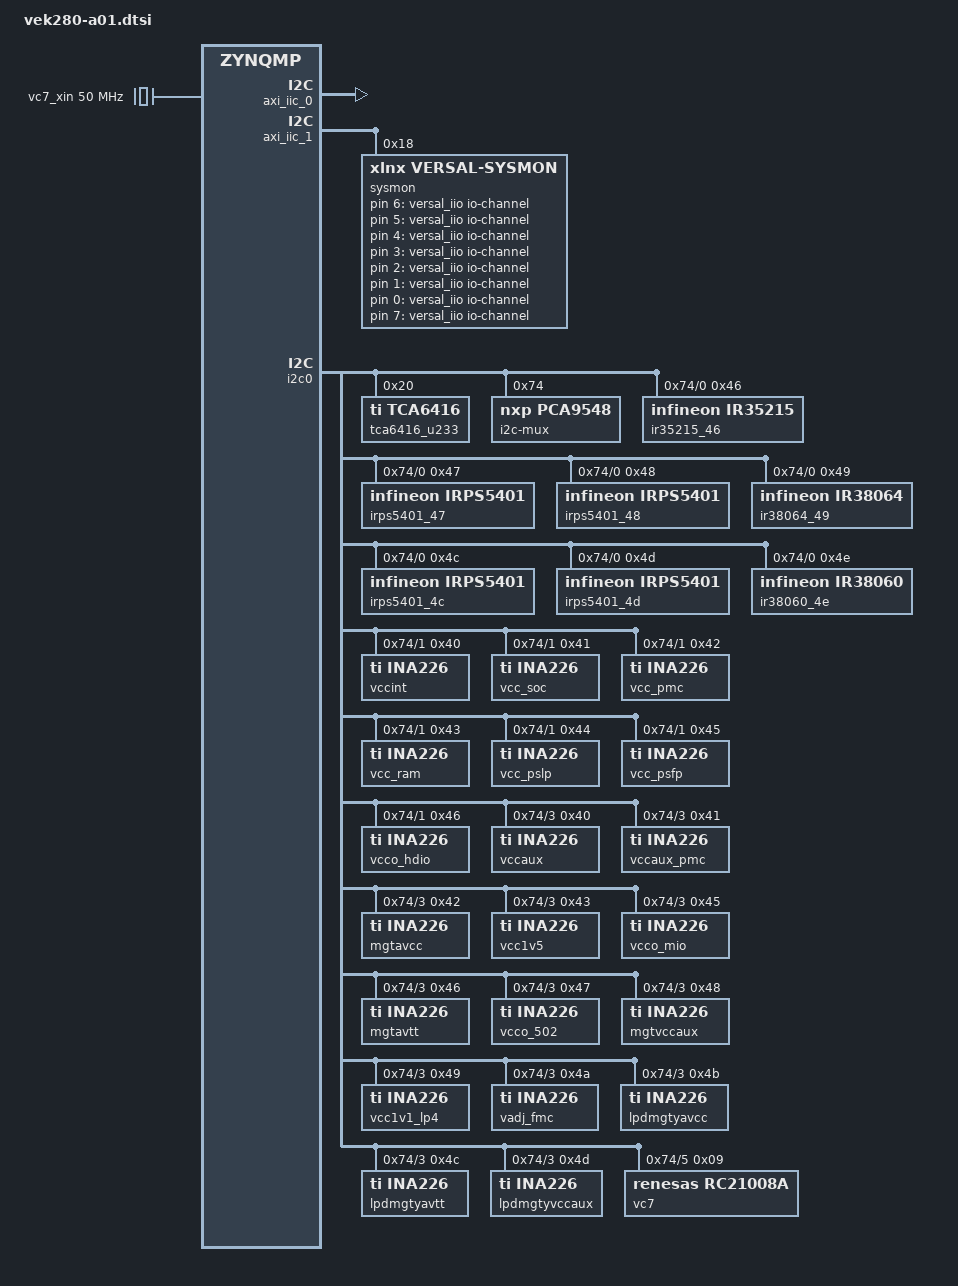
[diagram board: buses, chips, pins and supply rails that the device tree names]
// SPDX-License-Identifier: GPL-2.0
/*
 * dts file for Xilinx ZynqMP VEK280 revA
 *
 * (C) Copyright 2022, Advanced Micro Devices, Inc
 *
 */

/dts-v1/;
/plugin/;
/{
    compatible = "xlnx,zynqmp-sc-vek280-revA", "xlnx,zynqmp-vek280-revA",
		 "xlnx,zynqmp-sc-vek280-revB", "xlnx,zynqmp-vek280-revB",
                "xlnx,zynqmp-vek280", "xlnx,zynqmp";

    fragment@0 {
        target = <&fpga_full>;
        overlay0: __overlay__ {
            #address-cells = <2>;
            #size-cells = <2>;
            firmware-name = "vek280-a01.bit.bin";
            pid = <0x0>;
            resets = <&zynqmp_reset 116>;
            uid = <0xd91b5b60>;
        };
    };

    fragment@1 {
        target = <&amba>;
        overlay1: __overlay__ {
            afi0: afi0 {
                compatible = "xlnx,afi-fpga";
                config-afi = < 0 0>, <1 0>, <2 0>, <3 0>, <4 0>, <5 0>, <6 0>, <7 0>, <8 0>, <9 0>, <10 0>, <11 0>, <12 0>, <13 0>, <14 0xa00>, <15 0x000>;
            };
            clocking0: clocking0 {
            #clock-cells = <0>;
            assigned-clock-rates = <96968727>;
            assigned-clocks = <&zynqmp_clk 71>;
            clock-output-names = "fabric_clk";
            clocks = <&zynqmp_clk 71>;
            compatible = "xlnx,fclk";
            };
            clocking1: clocking1 {
            #clock-cells = <0>;
            assigned-clock-rates = <266664000>;
            assigned-clocks = <&zynqmp_clk 72>;
            clock-output-names = "fabric_clk";
            clocks = <&zynqmp_clk 72>;
            compatible = "xlnx,fclk";
            };
        };
    };

    fragment@2 {
        target = <&amba>;
        overlay2: __overlay__ {
            #address-cells = <2>;
            #size-cells = <2>;
            axi_gpio_0: gpio@80020000 {
                #gpio-cells = <2>;
	        #interrupt-cells = <2>;
                clock-names = "s_axi_aclk";
                clocks = <&zynqmp_clk 71>;
                compatible = "xlnx,axi-gpio-2.0", "xlnx,xps-gpio-1.00.a";
                gpio-controller ;
                interrupt-controller ;
                interrupt-names = "ip2intc_irpt";
                interrupt-parent = <&gic>;
	        interrupts = <0 94 4>;
                reg = <0x0 0x80020000 0x0 0x10000>;
                xlnx,all-inputs = <0x0>;
                xlnx,all-inputs-2 = <0x0>;
                xlnx,all-outputs = <0x0>;
                xlnx,all-outputs-2 = <0x0>;
                xlnx,dout-default = <0x00000000>;
	        xlnx,dout-default-2 = <0x00000000>;
                xlnx,gpio-width = <0x12>;
                xlnx,gpio2-width = <0x20>;
	        xlnx,interrupt-present = <0x1>;
                xlnx,is-dual = <0x0>;
                xlnx,tri-default = <0xFFFFFFFF>;
                xlnx,tri-default-2 = <0xFFFFFFFF>;
	        gpio-line-names = "SYSCTLR_GPIO0", "SYSCTLR_GPIO1", "SYSCTLR_GPIO2",
                "SYSCTLR_GPIO3", "SYSCTLR_GPIO4", "SYSCTLR_GPIO5",
                "SYSCTLR_GPIO6", "SYSCTLR_GPIO7", "",
                "", "", "",
                "", "", "",
                "", "SYSCTLR_IIC_MUX1_RESET_B",
                "SYSCTLR_IIC_MUX0_RESET_B";
            };
            axi_gpio_1: gpio@80030000 {
                #gpio-cells = <2>;
                #interrupt-cells = <2>;
                clock-names = "s_axi_aclk";
                clocks = <&zynqmp_clk 71>;
                compatible = "xlnx,axi-gpio-2.0", "xlnx,xps-gpio-1.00.a";
                gpio-controller ;
                interrupt-controller ;
                interrupt-names = "ip2intc_irpt";
                interrupt-parent = <&gic>;
                interrupts = <0 96 4>;
                reg = <0x0 0x80030000 0x0 0x10000>;
                xlnx,all-inputs = <0x0>;
		xlnx,all-inputs-2 = <0x0>;
		xlnx,all-outputs = <0x0>;
                xlnx,all-outputs-2 = <0x0>;
                xlnx,dout-default = <0x00000000>;
                xlnx,dout-default-2 = <0x00000000>;
                xlnx,gpio-width = <0x3>;
                xlnx,gpio2-width = <0x20>;
                xlnx,interrupt-present = <0x1>;
                xlnx,is-dual = <0x0>;
                xlnx,tri-default = <0xFFFFFFFF>;
                xlnx,tri-default-2 = <0xFFFFFFFF>;
		gpio-line-names = "PMBUS2_INA226_ALERT", "PMBUS1_INA226_ALERT",
                "PMBUS_ALERT";
            };
            axi_gpio_2: gpio@80040000 {
                #gpio-cells = <2>;
                #interrupt-cells = <2>;
                clock-names = "s_axi_aclk";
                clocks = <&zynqmp_clk 71>;
                compatible = "xlnx,axi-gpio-2.0", "xlnx,xps-gpio-1.00.a";
                gpio-controller ;
                interrupt-controller ;
                interrupt-names = "ip2intc_irpt";
                interrupt-parent = <&gic>;
                interrupts = <0 95 4>;
                reg = <0x0 0x80040000 0x0 0x10000>;
                xlnx,all-inputs = <0x0>;
                xlnx,all-inputs-2 = <0x0>;
                xlnx,all-outputs = <0x0>;
                xlnx,all-outputs-2 = <0x0>;
                xlnx,dout-default = <0x00000000>;
                xlnx,dout-default-2 = <0x00000000>;
                xlnx,gpio-width = <0xd>;
                xlnx,gpio2-width = <0x20>;
                xlnx,interrupt-present = <0x1>;
                xlnx,is-dual = <0x0>;
                xlnx,tri-default = <0xFFFFFFFF>;
                xlnx,tri-default-2 = <0xFFFFFFFF>;
	        gpio-line-names = "SYSCTLR_JTAG_S1", "SYSCTLR_JTAG_S0",
                "SYSCTLR_VERSAL_MODE3", "SYSCTLR_VERSAL_MODE2",
                "SYSCTLR_VERSAL_MODE1", "SYSCTLR_VERSAL_MODE0",
                "SYSCTLR_POR_B_LS", "SYSCTLR_VERSAL_MODE3_READBACK",
                "SYSCTLR_VERSAL_MODE2_READBACK", "SYSCTLR_VERSAL_MODE1_READBACK",
                "SYSCTLR_VERSAL_MODE0_READBACK", "SYSCTLR_VERSAL_POR_B_READBACK",
                "VERSAL_ERROR_OUT_LS";
           };
            axi_iic_0: i2c@80050000 {
                #address-cells = <1>;
                #size-cells = <0>;
                clock-names = "s_axi_aclk";
                clocks = <&zynqmp_clk 71>;
                compatible = "xlnx,axi-iic-2.1", "xlnx,xps-iic-2.00.a";
                interrupt-names = "iic2intc_irpt";
                interrupt-parent = <&gic>;
		interrupts = <0 91 4>;
                reg = <0x0 0x80050000 0x0 0x10000>;
            };
            axi_iic_1: i2c@80060000 {
		#address-cells = <1>;
		#size-cells = <0>;
		clock-names = "s_axi_aclk";
		clocks = <&zynqmp_clk 71>;
		compatible = "xlnx,axi-iic-2.1", "xlnx,xps-iic-2.00.a";
		interrupt-names = "iic2intc_irpt";
		interrupt-parent = <&gic>;
		interrupts = <0 92 4>;
		reg = <0x0 0x80060000 0x0 0x10000>;

		sysmon: i2c@18 {
			#address-cells = <1>;
			#size-cells = <0>;
			compatible = "xlnx,versal-sysmon";
			reg = <0x18>;
			xlnx,numchannels = [07];
			status = "okay";
			#io-channel-cells = <1>;
			supply@0 {
				reg = <0>;
				xlnx,name = "vccaux";
			};
			supply@1 {
				reg = <1>;
				xlnx,name = "vccaux_pmc";
			};
			supply@2 {
				reg = <2>;
				xlnx,name = "vcc_pmc";
			};
			supply@3 {
				reg = <3>;
				xlnx,name = "vcc_psfp";
			};
			supply@4 {
				reg = <4>;
				xlnx,name = "vcc_pslp";
			};
			supply@5 {
				reg = <5>;
				xlnx,name = "vcc_soc";
			};
			supply@6 {
				reg = <6>;
				xlnx,name = "vp_vn";
			};
		};
            };
	    debug_bridge_0: debug_bridge@80010000 {
		clock-names = "s_axi_aclk";
		clocks = <&zynqmp_clk 71>;
		compatible = "xlnx,debug-bridge-3.0", "generic-uio";
		reg = <0x0 0x80010000 0x0 0x10000>;
		xlnx,bscan-mux = <0x1>;
		xlnx,build-revision = <0x0>;
		xlnx,chip-id = <0x0>;
		xlnx,clk-input-freq-hz = <0x11e1a300>;
		xlnx,core-major-ver = <0x1>;
		xlnx,core-minor-alpha-ver = <0x61>;
		xlnx,core-minor-ver = <0x0>;
		xlnx,core-type = <0x1>;
		xlnx,dclk-has-reset = <0x0>;
		xlnx,debug-mode = <0x3>;
		xlnx,design-type = <0x0>;
		xlnx,device-family = <0x0>;
		xlnx,en-bscanid-vec = "false";
		xlnx,en-int-sim = <0x1>;
		xlnx,en-passthrough = <0x0>;
		xlnx,enable-clk-divider = "false";
		xlnx,fifo-style = "SUBCORE";
		xlnx,ir-id-instr = <0x0>;
		xlnx,ir-user1-instr = <0x0>;
		xlnx,ir-width = <0x0>;
		xlnx,major-version = <0xe>;
		xlnx,master-intf-type = <0x1>;
		xlnx,minor-version = <0x1>;
		xlnx,num-bs-master = <0x0>;
		xlnx,pcie-ext-cfg-base-addr = <0x400>;
		xlnx,pcie-ext-cfg-next-ptr = <0x000>;
		xlnx,pcie-ext-cfg-vsec-id = <0x0008>;
		xlnx,pcie-ext-cfg-vsec-length = <0x020>;
		xlnx,pcie-ext-cfg-vsec-rev-id = <0x0>;
		xlnx,tck-clock-ratio = <0x8>;
		xlnx,two-prim-mode = "false";
		xlnx,use-bufr = <0x0>;
		xlnx,use-ext-bscan = "true";
		xlnx,use-softbscan = <0x1>;
		xlnx,use-startup-clk = "false";
		xlnx,user-scan-chain = <0x1>;
		xlnx,xsdb-num-slaves = <0x0>;
		xlnx,xvc-hw-id = <0x0001>;
		xlnx,xvc-sw-id = <0x0001>;
            };
            fan_tach_0: fan_tach@80080000 {
		clock-names = "clk";
		clocks = <&zynqmp_clk 71>;
		compatible = "xlnx,fan-tach-1.0";
		interrupt-names = "interrupt_fan_fail", "interrupt_pwm_det";
		interrupt-parent = <&gic>;
		interrupts = <0 89 4 0 90 4>;
		reg = <0x0 0x80080000 0x0 0x1000 0x0 0x80081000 0x0 0x1000 0x0 0x80082000 0x0 0x1000>;
	    };
	    hsdp_axi_bram_ctrl_1: axi_bram_ctrl@a0020000 {
		clock-names = "s_axi_aclk";
		clocks = <&zynqmp_clk 72>;
		compatible = "xlnx,axi-bram-ctrl-4.1";
		reg = <0x0 0xa0020000 0x0 0x4000>;
		xlnx,bram-addr-width = <0xa>;
		xlnx,bram-inst-mode = "EXTERNAL";
		xlnx,ecc = <0x0>;
		xlnx,ecc-onoff-reset-value = <0x0>;
		xlnx,ecc-type = <0x0>;
		xlnx,fault-inject = <0x0>;
		xlnx,memory-depth = <0x400>;
		xlnx,rd-cmd-optimization = <0x0>;
		xlnx,read-latency = <0x1>;
		xlnx,s-axi-ctrl-addr-width = <0x20>;
		xlnx,s-axi-ctrl-data-width = <0x20>;
		xlnx,s-axi-id-width = <0x1>;
		xlnx,s-axi-supports-narrow-burst = <0x0>;
		xlnx,single-port-bram = <0x1>;
            };
            hsdp_axi_dma_0: dma@a0000000 {
		#dma-cells = <1>;
		clock-names = "s_axi_lite_aclk", "m_axi_sg_aclk", "m_axi_mm2s_aclk", "m_axi_s2mm_aclk";
		clocks = <&zynqmp_clk 72>, <&zynqmp_clk 72>, <&zynqmp_clk 72>, <&zynqmp_clk 72>;
		compatible = "xlnx,axi-dma-7.1", "xlnx,axi-dma-1.00.a";
		interrupt-names = "mm2s_introut", "s2mm_introut";
		interrupt-parent = <&gic>;
		interrupts = <0 104 4 0 105 4>;
		reg = <0x0 0xa0000000 0x0 0x10000>;
		xlnx,addrwidth = <0x30>;
		xlnx,include-sg ;
		xlnx,sg-length-width = <0x1a>;
		dma-channel@a0000000 {
		    compatible = "xlnx,axi-dma-mm2s-channel";
		        dma-channels = <0x1>;
			interrupts = <0 104 4>;
			xlnx,datawidth = <0x80>;
			xlnx,device-id = <0x0>;
		};
		dma-channel@a0000030 {
		    compatible = "xlnx,axi-dma-s2mm-channel";
			dma-channels = <0x1>;
		        interrupts = <0 105 4>;
			xlnx,datawidth = <0x40>;
			xlnx,device-id = <0x0>;
		};
	    };
	    hsdp_hsdp_ctl_stat_regs: hsdp_ctl_v1_0@a0010000 {
		clock-names = "s00_axi_hsdp_aclk";
		clocks = <&zynqmp_clk 72>;
		compatible = "xlnx,hsdp-ctl-v1-0-1.0";
		reg = <0x0 0xa0010000 0x0 0x10000>;
		xlnx,prog-empty-cnt-width = <0x20>;
		xlnx,s00-axi-hsdp-addr-width = <0x6>;
		xlnx,s00-axi-hsdp-data-width = <0x20>;
		xlnx,tlast-prog-width = <0x17>;
	    };
        };
    };

     fragment@3 {
        target-path = "/";
        __overlay__ {
	    versal_iio: versal {
		compatible = "iio-hwmon";
		io-channels = <&sysmon 6>, <&sysmon 5>, <&sysmon 4>,
			      <&sysmon 3>, <&sysmon 2>, <&sysmon 1>,
			      <&sysmon 0>, <&sysmon 7>, <&sysmon 8>;
		};

            vc7_xin: vc7-xin {
		compatible = "fixed-clock";
		#clock-cells = <0>;
		clock-frequency = <50000000>;
		};

	    gtclk1_1: sys_clk_0 {
		status = "okay";
		compatible = "xlnx,fclk";
		clocks = <&vc7 0>;
	    };

	    gtclk1_2: sys_clk_1 {
		status = "okay";
		compatible = "xlnx,fclk";
		clocks = <&vc7 1>;
	    };

	    gtclk1_3: sys_clk_2 {
		status = "okay";
		compatible = "xlnx,fclk";
		clocks = <&vc7 2>;
	    };

	    gtclk1_6: gtclk1_out6 {
		status = "okay";
		compatible = "xlnx,fclk";
		clocks = <&vc7 3>;
	    };

	    gtclk1_7: gtclk1_out7 {
		status = "okay";
		compatible = "xlnx,fclk";
		clocks = <&vc7 4>;
	    };

	    gtclk1_8: gtclk1_out8 {
		status = "okay";
		compatible = "xlnx,fclk";
		clocks = <&vc7 5>;
	    };

	    gtclk1_10: ps_ref_clk {
		status = "okay";
		compatible = "xlnx,fclk";
		clocks = <&vc7 6>;
	    };

	    gtclk1_11: gtclk1_out11 {
		status = "okay";
		compatible = "xlnx,fclk";
		clocks = <&vc7 7>;
	    };
        };
    };

    fragment@4 {
	target = <&i2c0>;
        __overlay__ {
            #address-cells = <1>;
	    #size-cells = <0>;

	    tca6416_u233: gpio@20 {
                compatible = "ti,tca6416";
		reg = <0x20>;
		gpio-controller;
		#gpio-cells = <2>;
		gpio-line-names = "", "", "SFP_MOD_ABS", "SFP_TX_DISABLE",
		"PMBUS2_INA226_ALERT", "", "", "",
		"FMCP1_FMC_PRSNT_M2C_B", "", "FMCP1_FMCP_PRSNT_M2C_B", "",
		"VCCINT_VRHOT_B", "8A34001_EXP_RST_B", "PMBUS_ALERT", "PMBUS1_INA226_ALERT";
	    };

            i2c-mux@74 {
		compatible = "nxp,pca9548";
		#address-cells = <1>;
		#size-cells = <0>;
		reg = <0x74>;
		pmbus_i2c: i2c@0 {
		    #address-cells = <1>;
	            #size-cells = <0>;
		    reg = <0>;
		    ir35215_46: pmic@46 {
		        compatible = "infineon,ir35215";
			reg = <0x46>;
		    };
		    irps5401_47: pmic5401@47 {
	                compatible = "infineon,irps5401";
			reg = <0x47>;
		    };
		    irps5401_48: pmic@48 {
                        compatible = "infineon,irps5401";
			reg = <0x48>;
		    };
		    ir38064_49: regulator@49 {
			compatible = "infineon,ir38064";
			reg = <0x49>;
		    };
		    irps5401_4c: pmic@4c {
		        compatible = "infineon,irps5401";
			reg = <0x4c>;
		    };
		    irps5401_4d: pmic@4d {
			compatible = "infineon,irps5401";
			reg = <0x4d>;
		    };
		    ir38060_4e: regulator@4e {
			compatible = "infineon,ir38060";
			reg = <0x4e>;
		    };
		};
		pmbus1_ina226_i2c: i2c@1 {
		    #address-cells = <1>;
	            #size-cells = <0>;
	            reg = <1>;
		    vccint: ina226@40 {
			compatible = "ti,ina226";
			reg = <0x40>;
			shunt-resistor = <500>;
		    };
		    vcc_soc: ina226@41 {
			compatible = "ti,ina226";
			reg = <0x41>;
			shunt-resistor = <500>;
		    };
		    vcc_pmc: ina226@42 {
			compatible = "ti,ina226";
			reg = <0x42>;
			shunt-resistor = <5000>;
		    };
		    vcc_ram: ina226@43 {
			compatible = "ti,ina226";
			reg = <0x43>;
			shunt-resistor = <5000>;
		    };
		    vcc_pslp: ina226@44 {
			compatible = "ti,ina226";
			reg = <0x44>;
			shunt-resistor = <5000>;
		    };
		    vcc_psfp: ina226@45 {
			compatible = "ti,ina226";
			reg = <0x45>;
			shunt-resistor = <5000>;
		    };
		    vcco_hdio: ina226@46 {
			compatible = "ti,ina226";
			reg = <0x46>;
			shunt-resistor = <5000>;
		    };
		};
		i2c@2 {
		     #address-cells = <1>;
		     #size-cells = <0>;
		     reg = <2>;
		};
		pmbus2_ina226_i2c: i2c@3 {
		    #address-cells = <1>;
		    #size-cells = <0>;
		    reg = <3>;
		    vccaux: ina226@40 {
		        compatible = "ti,ina226";
			reg = <0x40>;
			shunt-resistor = <5000>;
		    };
		    vccaux_pmc: ina226@41 {
		        compatible = "ti,ina226";
			reg = <0x41>;
			shunt-resistor = <5000>;
		    };
		    mgtavcc: ina226@42 {
		        compatible = "ti,ina226";
			reg = <0x42>;
		        shunt-resistor = <5000>;
		    };
		    vcc1v5: ina226@43 {
			compatible = "ti,ina226";
			reg = <0x43>;
			shunt-resistor = <5000>;
		    };
		    vcco_mio: ina226@45 {
			compatible = "ti,ina226";
			reg = <0x45>;
			shunt-resistor = <5000>;
		    };
		    mgtavtt: ina226@46 {
		        compatible = "ti,ina226";
			reg = <0x46>;
			shunt-resistor = <500>;
		    };
		    vcco_502: ina226@47 {
			compatible = "ti,ina226";
			reg = <0x47>;
			shunt-resistor = <5000>;
		    };
		    mgtvccaux: ina226@48 {
			compatible = "ti,ina226";
			reg = <0x48>;
			shunt-resistor = <5000>;
		    };
		    vcc1v1_lp4: ina226@49 {
			compatible = "ti,ina226";
			reg = <0x49>;
			shunt-resistor = <500>;
		    };
		    vadj_fmc: ina226@4a {
			compatible = "ti,ina226";
			reg = <0x4a>;
			shunt-resistor = <5000>;
		    };
		    lpdmgtyavcc: ina226@4b {
			compatible = "ti,ina226";
			reg = <0x4b>;
			shunt-resistor = <5000>;
		    };
		    lpdmgtyavtt: ina226@4c {
			compatible = "ti,ina226";
			reg = <0x4c>;
			shunt-resistor = <5000>;
		    };
		    lpdmgtyvccaux: ina226@4d {
			compatible = "ti,ina226";
			reg = <0x4d>;
			shunt-resistor = <5000>;
		    };
		};
		i2c@4 {
		    #address-cells = <1>;
		    #size-cells = <0>;
		    reg = <4>;
	        };
		rc21008a_gtclk1: i2c@5 {
		    #address-cells = <1>;
		    #size-cells = <0>;
	            reg = <5>;
		    vc7: clock-generator@9 {
		        compatible = "renesas,rc21008a";
			reg = <0x9>;
			#clock-cells = <1>;
			clocks = <&vc7_xin>;
			clock-names = "xin";
		    };
		};
		fmcp1_iic: i2c@6 {
		    #address-cells = <1>;
		    #size-cells = <0>;
		    reg = <6>;
		};
		sfp: i2c@7 {
		    #address-cells = <1>;
		    #size-cells = <0>;
		    reg = <7>;
		};
	    };
	};
    };

};
